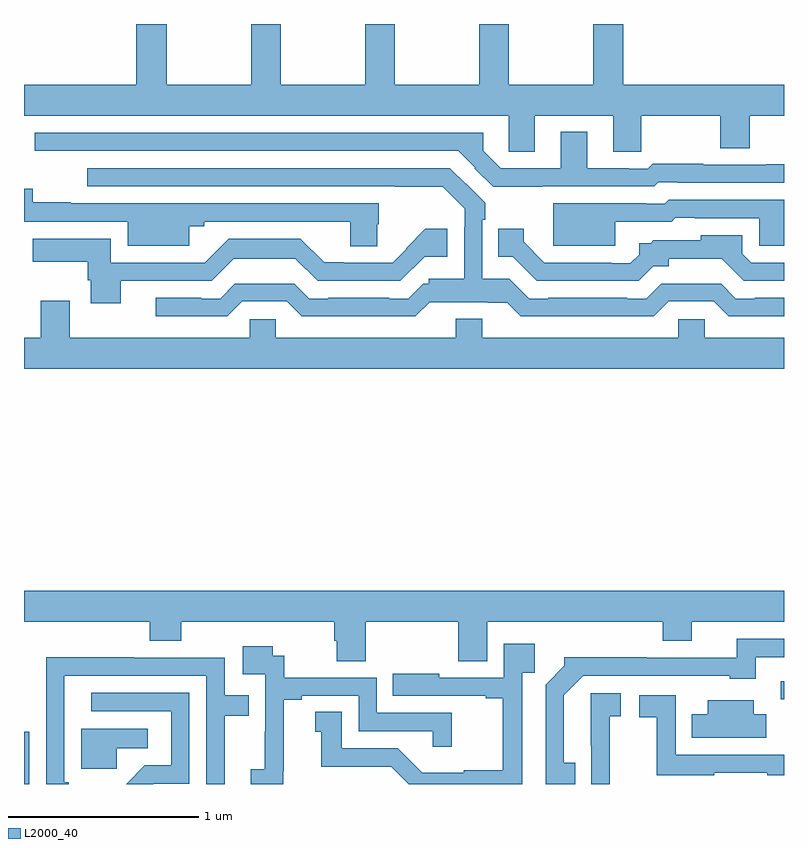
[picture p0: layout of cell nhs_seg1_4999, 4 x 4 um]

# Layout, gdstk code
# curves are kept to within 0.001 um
import gdstk
lib = gdstk.Library(unit=1e-6, precision=1e-09)
def R(c, l, rs):  # rectangles x0, y0, x1, y1
    for r in rs: c.add(gdstk.rectangle(r[:2], r[2:], *l))
def P(c, l, *ps):  # polygons
    for p in ps: c.add(gdstk.Polygon(p, *l))
L2000_40 = (2000, 40)

nhs_seg1_4999 = lib.new_cell('nhs_seg1_4999')
R(nhs_seg1_4999, L2000_40, [(381,564.199,381.027,564.475), (384.983,564.645,385,564.739)])
P(nhs_seg1_4999, L2000_40, [(383.689,567.716),(384.101,567.716),(384.101,567.526),(384.249,567.526),(384.249,567.716),(384.664,567.716),(384.664,567.544),(384.819,567.544),(384.819,567.716),(385,567.716),(385,567.88),(384.155,567.88),(384.155,568.199),(383.995,568.199),(383.995,567.88),(383.55,567.88),(383.55,568.199),(383.395,568.199),(383.395,567.88),(382.95,567.88),(382.95,568.199),(382.795,568.199),(382.795,567.88),(382.35,567.88),(382.35,568.199),(382.195,568.199),(382.195,567.88),(381.75,567.88),(381.75,568.199),(381.59,568.199),(381.59,567.88),(381,567.88),(381,567.716),(383.55,567.716),(383.55,567.526),(383.689,567.526)],
  [(383.729,567.345),(384.318,567.345),(384.339,567.366),(384.439,567.366),(384.439,567.363),(385,567.363),(385,567.462),(384.907,567.462),(384.907,567.459),(384.575,567.459),(384.575,567.464),(384.308,567.464),(384.282,567.438),(384.182,567.438),(384.182,567.441),(383.965,567.441),(383.965,567.631),(383.825,567.631),(383.825,567.441),(383.508,567.441),(383.418,567.532),(383.418,567.627),(381.057,567.627),(381.057,567.531),(383.286,567.531),(383.374,567.443),(383.371,567.44),(383.469,567.343),(383.729,567.343)],
  [(382.149,566.739),(382.383,566.739),(382.462,566.66),(383.06,566.66),(383.135,566.735),(383.441,566.735),(383.441,566.731),(383.544,566.731),(383.614,566.66),(384.314,566.66),(384.393,566.739),(384.63,566.739),(384.709,566.66),(385,566.66),(385,566.757),(384.847,566.757),(384.847,566.754),(384.747,566.754),(384.669,566.832),(384.354,566.832),(384.276,566.754),(384.176,566.754),(384.176,566.757),(383.758,566.757),(383.758,566.754),(383.658,566.754),(383.553,566.859),(383.412,566.859),(383.412,567.17),(383.427,567.17),(383.427,567.258),(383.242,567.441),(381.333,567.441),(381.333,567.345),(382.954,567.345),(382.954,567.343),(383.203,567.343),(383.319,567.227),(383.319,567.128),(383.316,567.128),(383.316,566.859),(383.13,566.859),(383.13,566.832),(383.1,566.832),(383.022,566.754),(382.922,566.754),(382.922,566.757),(382.6,566.757),(382.6,566.754),(382.5,566.754),(382.422,566.832),(382.11,566.832),(382.032,566.754),(381.932,566.754),(381.932,566.757),(381.693,566.757),(381.693,566.66),(382.07,566.66)],
  [(382.858,567.144),(382.866,567.144),(382.866,567.255),(381.848,567.255),(381.848,567.256),(381.649,567.256),(381.649,567.255),(381.245,567.255),(381.245,567.26),(381.046,567.26),(381.046,567.331),(381,567.331),(381,567.159),(381.545,567.159),(381.545,567.032),(381.871,567.032),(381.871,567.134),(381.948,567.134),(381.948,567.159),(382.718,567.159),(382.718,567.028),(382.858,567.028)],
  [(384.112,567.159),(384.408,567.159),(384.428,567.179),(384.529,567.179),(384.529,567.177),(384.87,567.177),(384.87,567.032),(385,567.032),(385,567.273),(384.393,567.273),(384.372,567.252),(384.272,567.252),(384.272,567.255),(383.786,567.256),(383.786,567.032),(384.112,567.032)],
  [(384.312,566.924),(384.394,566.924),(384.394,566.963),(384.672,566.963),(384.788,566.847),(385,566.847),(385,566.943),(384.828,566.943),(384.78,566.991),(384.78,567.088),(384.561,567.088),(384.561,567.06),(384.312,567.06),(384.298,567.046),(384.237,567.046),(384.237,566.985),(384.192,566.94),(384.092,566.94),(384.092,566.943),(383.739,566.943),(383.629,567.053),(383.629,567.121),(383.497,567.121),(383.497,566.973),(383.573,566.973),(383.699,566.847),(384.235,566.847)],
  [(381.508,566.847),(381.987,566.847),(382.104,566.964),(382.428,566.964),(382.545,566.847),(382.981,566.847),(383.109,566.975),(383.227,566.975),(383.227,567.121),(383.113,567.121),(383.012,567.02),(383.015,567.017),(382.941,566.943),(382.684,566.943),(382.684,566.945),(382.58,566.945),(382.454,567.07),(382.078,567.07),(381.951,566.943),(381.457,566.943),(381.457,567.07),(381.045,567.07),(381.045,566.948),(381.335,566.948),(381.335,566.85),(381.35,566.85),(381.35,566.73),(381.508,566.73)],
  [(385,566.548),(384.582,566.548),(384.582,566.646),(384.444,566.646),(384.444,566.548),(383.413,566.548),(383.413,566.647),(383.273,566.647),(383.273,566.548),(382.326,566.548),(382.326,566.646),(382.188,566.646),(382.188,566.548),(381.241,566.548),(381.241,566.743),(381.089,566.743),(381.089,566.548),(381,566.548),(381,566.384),(385,566.384)],
  [(382.799,565.052),(383.285,565.052),(383.285,564.844),(383.437,564.844),(383.437,565.052),(384.362,565.052),(384.362,564.953),(384.514,564.953),(384.514,565.052),(385,565.052),(385,565.216),(381,565.216),(381,565.052),(381.662,565.052),(381.662,564.953),(381.827,564.953),(381.827,565.052),(382.634,565.052),(382.634,564.954),(382.646,564.954),(382.646,564.844),(382.799,564.844)],
  [(383.9,564.311),(383.842,564.311),(383.842,564.667),(383.943,564.768),(384.714,564.768),(384.714,564.752),(384.85,564.752),(384.85,564.867),(385,564.867),(385,564.963),(384.751,564.963),(384.751,564.864),(384.278,564.864),(384.278,564.866),(383.844,564.866),(383.844,564.821),(383.745,564.722),(383.745,564.199),(383.9,564.199)],
  [(383.622,564.785),(383.687,564.785),(383.687,564.937),(383.526,564.937),(383.526,564.759),(383.185,564.759),(383.185,564.778),(382.942,564.778),(382.942,564.663),(383.429,564.663),(383.429,564.651),(383.521,564.651),(383.521,564.271),(383.315,564.271),(383.315,564.259),(383.096,564.259),(382.968,564.387),(382.672,564.387),(382.672,564.578),(382.532,564.578),(382.532,564.475),(382.565,564.475),(382.565,564.291),(382.932,564.291),(383.024,564.199),(383.622,564.199)],
  [(382.364,564.265),(382.366,564.265),(382.366,564.643),(382.462,564.643),(382.462,564.663),(382.761,564.663),(382.761,564.477),(383.151,564.477),(383.151,564.396),(383.252,564.396),(383.252,564.573),(382.857,564.573),(382.857,564.759),(382.37,564.759),(382.37,564.873),(382.308,564.873),(382.308,564.925),(382.152,564.925),(382.152,564.777),(382.269,564.777),(382.269,564.473),(382.268,564.473),(382.268,564.276),(382.194,564.276),(382.194,564.199),(382.364,564.199)],
  [(381.235,564.207),(381.213,564.207),(381.213,564.768),(381.96,564.768),(381.96,564.199),(382.057,564.199),(382.057,564.558),(382.184,564.558),(382.184,564.666),(382.056,564.666),(382.056,564.864),(381.578,564.864),(381.578,564.866),(381.116,564.866),(381.116,564.562),(381.117,564.562),(381.117,564.199),(381.235,564.199)],
  [(381.681,564.201),(381.87,564.201),(381.87,564.678),(381.354,564.678),(381.354,564.582),(381.774,564.582),(381.774,564.297),(381.636,564.297),(381.538,564.199),(381.679,564.199)],
  [(384.084,564.555),(384.142,564.555),(384.142,564.676),(383.984,564.676),(383.984,564.4),(383.985,564.4),(383.985,564.199),(384.084,564.199)],
  [(384.632,564.258),(384.911,564.258),(384.911,564.246),(385,564.246),(385,564.354),(384.429,564.354),(384.429,564.666),(384.237,564.666),(384.237,564.55),(384.331,564.55),(384.331,564.246),(384.632,564.246)],
  [(384.907,564.565),(384.841,564.565),(384.841,564.64),(384.599,564.64),(384.599,564.565),(384.514,564.565),(384.514,564.443),(384.907,564.443)],
  [(381.489,564.386),(381.652,564.386),(381.652,564.49),(381.302,564.49),(381.302,564.279),(381.489,564.279)])

lib.write_gds('nhs_seg1_4999.gds')
